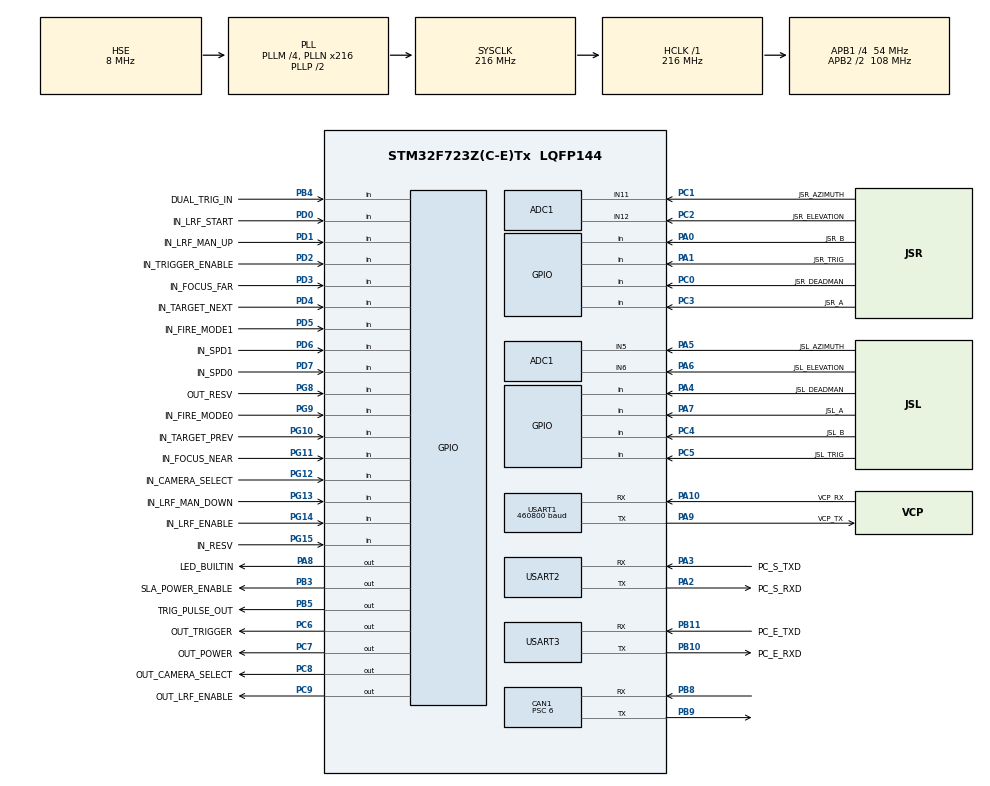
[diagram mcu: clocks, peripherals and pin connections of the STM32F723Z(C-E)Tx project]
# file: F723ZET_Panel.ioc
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ADC1.Channel-1\#ChannelRegularConversion=ADC_CHANNEL_11
ADC1.Channel-2\#ChannelRegularConversion=ADC_CHANNEL_12
ADC1.Channel-3\#ChannelRegularConversion=ADC_CHANNEL_5
ADC1.Channel-4\#ChannelRegularConversion=ADC_CHANNEL_6
ADC1.Channel-6\#ChannelRegularConversion=ADC_CHANNEL_TEMPSENSOR
ADC1.DMAContinuousRequests=ENABLE
ADC1.EOCSelection=ADC_EOC_SEQ_CONV
ADC1.ExternalTrigConv=ADC_EXTERNALTRIGCONV_T5_TRGO
ADC1.NbrOfConversion=5
ADC1.NbrOfConversionFlag=1
ADC1.Rank-1\#ChannelRegularConversion=1
ADC1.Rank-2\#ChannelRegularConversion=2
ADC1.Rank-3\#ChannelRegularConversion=3
ADC1.Rank-4\#ChannelRegularConversion=4
ADC1.Rank-6\#ChannelRegularConversion=5
ADC1.SamplingTime-1\#ChannelRegularConversion=ADC_SAMPLETIME_28CYCLES
ADC1.SamplingTime-2\#ChannelRegularConversion=ADC_SAMPLETIME_28CYCLES
ADC1.SamplingTime-3\#ChannelRegularConversion=ADC_SAMPLETIME_28CYCLES
ADC1.SamplingTime-4\#ChannelRegularConversion=ADC_SAMPLETIME_28CYCLES
ADC1.SamplingTime-6\#ChannelRegularConversion=ADC_SAMPLETIME_28CYCLES
ADC1.master=1
CAN1.BS1=CAN_BS1_15TQ
CAN1.BS2=CAN_BS2_2TQ
CAN1.CalculateBaudRate=500000
CAN1.CalculateTimeBit=2000
CAN1.CalculateTimeQuantum=111.11111111111111
CAN1.Prescaler=6
CORTEX_M7.default_mode_Activation=1
Dma.ADC1.0.Direction=DMA_PERIPH_TO_MEMORY
Dma.ADC1.0.FIFOMode=DMA_FIFOMODE_DISABLE
Dma.ADC1.0.Instance=DMA2_Stream0
Dma.ADC1.0.MemDataAlignment=DMA_MDATAALIGN_WORD
Dma.ADC1.0.MemInc=DMA_MINC_ENABLE
Dma.ADC1.0.Mode=DMA_CIRCULAR
Dma.ADC1.0.PeriphDataAlignment=DMA_PDATAALIGN_WORD
Dma.ADC1.0.PeriphInc=DMA_PINC_DISABLE
Dma.ADC1.0.Priority=DMA_PRIORITY_LOW
Dma.Request0=ADC1
IWDG.Prescaler=IWDG_PRESCALER_64
IWDG.Reload=1000
IWDG.Window=1000
Mcu.Family=STM32F7
Mcu.Name=STM32F723Z(C-E)Tx
Mcu.Package=LQFP144
NVIC.ADC_IRQn=true\:9\:0\:true\:false\:true\:true\:true\:true
NVIC.CAN1_RX0_IRQn=true\:5\:0\:true\:false\:true\:true\:true\:true
NVIC.DMA2_Stream0_IRQn=true\:8\:0\:true\:false\:true\:false\:true\:true
NVIC.PriorityGroup=NVIC_PRIORITYGROUP_4
NVIC.USART1_IRQn=true\:14\:0\:true\:false\:false\:true\:true\:true
NVIC.USART2_IRQn=true\:11\:0\:true\:false\:false\:true\:true\:true
NVIC.USART3_IRQn=true\:10\:0\:true\:false\:false\:true\:true\:true
PA0-WKUP.GPIO_Label=JSR_B
PA0-WKUP.GPIO_PuPd=GPIO_PULLUP
PA0-WKUP.Signal=GPIO_Input
PA1.GPIO_Label=JSR_TRIG
PA1.GPIO_PuPd=GPIO_PULLUP
PA1.Signal=GPIO_Input
PA10.GPIO_Label=VCP_RX
PA10.Mode=Asynchronous
PA10.Signal=USART1_RX
PA13.Mode=Serial_Wire
PA13.Signal=SYS_JTMS-SWDIO
PA14.Mode=Serial_Wire
PA14.Signal=SYS_JTCK-SWCLK
PA15.GPIO_Label=V_BATT_FREQ
PA15.Signal=S_TIM2_CH1_ETR
PA2.GPIO_Label=PC_S_RXD
PA2.Mode=Asynchronous
PA2.Signal=USART2_TX
PA3.GPIO_Label=PC_S_TXD
PA3.GPIO_PuPd=GPIO_PULLUP
PA3.Mode=Asynchronous
PA3.Signal=USART2_RX
PA4.GPIO_Label=JSL_DEADMAN
PA4.GPIO_PuPd=GPIO_PULLUP
PA4.Signal=GPIO_Input
PA5.GPIO_Label=JSL_AZIMUTH
PA5.Signal=ADCx_IN5
PA6.GPIO_Label=JSL_ELEVATION
PA6.Signal=ADCx_IN6
PA7.GPIO_Label=JSL_A
PA7.GPIO_PuPd=GPIO_PULLUP
PA7.Signal=GPIO_Input
PA8.GPIO_Label=LED_BUILTIN
PA8.Signal=GPIO_Output
PA9.GPIO_Label=VCP_TX
PA9.Mode=Asynchronous
PA9.Signal=USART1_TX
PB10.GPIO_Label=PC_E_RXD
PB10.Mode=Asynchronous
PB10.Signal=USART3_TX
PB11.GPIO_Label=PC_E_TXD
PB11.GPIO_PuPd=GPIO_PULLUP
PB11.Mode=Asynchronous
PB11.Signal=USART3_RX
PB2.Signal=QUADSPI_CLK
PB3.GPIO_Label=SLA_POWER_ENABLE
PB3.GPIO_ModeDefaultOutputPP=GPIO_MODE_OUTPUT_OD
PB3.GPIO_PuPd=GPIO_NOPULL
PB3.PinState=GPIO_PIN_SET
PB3.Signal=GPIO_Output
PB4.GPIO_Label=DUAL_TRIG_IN
PB4.GPIO_PuPd=GPIO_PULLUP
PB4.Signal=GPIO_Input
PB5.GPIO_Label=TRIG_PULSE_OUT
PB5.Signal=GPIO_Output
PB6.Signal=QUADSPI_BK1_NCS
PB8.Mode=CAN_Activate
PB8.Signal=CAN1_RX
PB9.Mode=CAN_Activate
PB9.Signal=CAN1_TX
PC0.GPIO_Label=JSR_DEADMAN
PC0.GPIO_PuPd=GPIO_PULLUP
PC0.Signal=GPIO_Input
PC1.GPIO_Label=JSR_AZIMUTH
PC1.Signal=ADCx_IN11
PC10.GPIO_Label=BMS_RXD
PC10.Signal=UART4_TX
PC11.GPIO_Label=BMS_TXD
PC11.Signal=UART4_RX
PC13.GPIO_Label=SYS_WKUP4
PC13.Signal=SYS_WKUP4
PC2.GPIO_Label=JSR_ELEVATION
PC2.Signal=ADCx_IN12
PC3.GPIO_Label=JSR_A
PC3.GPIO_PuPd=GPIO_PULLUP
PC3.Signal=GPIO_Input
PC4.GPIO_Label=JSL_B
PC4.GPIO_PuPd=GPIO_PULLUP
PC4.Signal=GPIO_Input
PC5.GPIO_Label=JSL_TRIG
PC5.GPIO_PuPd=GPIO_PULLUP
PC5.Signal=GPIO_Input
PC6.GPIO_Label=OUT_TRIGGER
PC6.Signal=GPIO_Output
PC7.GPIO_Label=OUT_POWER
PC7.Signal=GPIO_Output
PC8.GPIO_Label=OUT_CAMERA_SELECT
PC8.Signal=GPIO_Output
PC9.GPIO_Label=OUT_LRF_ENABLE
PC9.Signal=GPIO_Output
PD0.GPIO_Label=IN_LRF_START
PD0.GPIO_PuPd=GPIO_PULLUP
PD0.Signal=GPIO_Input
PD1.GPIO_Label=IN_LRF_MAN_UP
PD1.GPIO_PuPd=GPIO_PULLUP
PD1.Signal=GPIO_Input
PD2.GPIO_Label=IN_TRIGGER_ENABLE
PD2.GPIO_PuPd=GPIO_PULLUP
PD2.Signal=GPIO_Input
PD3.GPIO_Label=IN_FOCUS_FAR
PD3.GPIO_PuPd=GPIO_PULLUP
PD3.Signal=GPIO_Input
PD4.GPIO_Label=IN_TARGET_NEXT
PD4.GPIO_PuPd=GPIO_PULLUP
PD4.Signal=GPIO_Input
PD5.GPIO_Label=IN_FIRE_MODE1
PD5.GPIO_PuPd=GPIO_PULLUP
PD5.Signal=GPIO_Input
PD6.GPIO_Label=IN_SPD1
PD6.GPIO_PuPd=GPIO_PULLUP
PD6.Signal=GPIO_Input
PD7.GPIO_Label=IN_SPD0
PD7.GPIO_PuPd=GPIO_PULLUP
PD7.Signal=GPIO_Input
PF6.Signal=QUADSPI_BK1_IO3
PF7.Signal=QUADSPI_BK1_IO2
PF8.Signal=QUADSPI_BK1_IO0
PF9.Signal=QUADSPI_BK1_IO1
PG10.GPIO_Label=IN_TARGET_PREV
PG10.GPIO_PuPd=GPIO_PULLUP
PG10.Signal=GPIO_Input
PG11.GPIO_Label=IN_FOCUS_NEAR
PG11.GPIO_PuPd=GPIO_PULLUP
PG11.Signal=GPIO_Input
PG12.GPIO_Label=IN_CAMERA_SELECT
PG12.GPIO_PuPd=GPIO_PULLUP
PG12.Signal=GPIO_Input
PG13.GPIO_Label=IN_LRF_MAN_DOWN
PG13.GPIO_PuPd=GPIO_PULLUP
PG13.Signal=GPIO_Input
PG14.GPIO_Label=IN_LRF_ENABLE
PG14.GPIO_PuPd=GPIO_PULLUP
PG14.Signal=GPIO_Input
PG15.GPIO_Label=IN_RESV
PG15.GPIO_PuPd=GPIO_PULLUP
PG15.Signal=GPIO_Input
PG8.GPIO_Label=OUT_RESV
PG8.GPIO_PuPd=GPIO_PULLUP
PG8.Signal=GPIO_Input
PG9.GPIO_Label=IN_FIRE_MODE0
PG9.GPIO_PuPd=GPIO_PULLUP
PG9.Signal=GPIO_Input
PH0-OSC_IN.Mode=HSE-External-Oscillator
PH0-OSC_IN.Signal=RCC_OSC_IN
PH1-OSC_OUT.Mode=HSE-External-Oscillator
PH1-OSC_OUT.Signal=RCC_OSC_OUT
ProjectManager.HeapSize=0x800
ProjectManager.StackSize=0x1600
ProjectManager.TargetToolchain=STM32CubeIDE
RCC.AHBFreq_Value=216000000
RCC.APB1CLKDivider=RCC_HCLK_DIV4
RCC.APB1Freq_Value=54000000
RCC.APB1TimFreq_Value=108000000
RCC.APB2CLKDivider=RCC_HCLK_DIV2
RCC.APB2Freq_Value=108000000
RCC.APB2TimFreq_Value=216000000
RCC.CortexFreq_Value=216000000
RCC.EnbaleCSS=true
RCC.HCLKFreq_Value=216000000
RCC.HSE_VALUE=8000000
RCC.HSI_VALUE=16000000
RCC.LSE_VALUE=32768
RCC.PLLM=4
RCC.PLLN=216
RCC.PLLSourceVirtual=RCC_PLLSOURCE_HSE
RCC.SYSCLKFreq_VALUE=216000000
RCC.SYSCLKSource=RCC_SYSCLKSOURCE_PLLCLK
RCC.USBFreq_Value=216000000
RCC.VCOOutputFreq_Value=432000000
SH.ADCx_IN11.0=ADC1_IN11,IN11
SH.ADCx_IN12.0=ADC1_IN12,IN12
SH.ADCx_IN5.0=ADC1_IN5,IN5
SH.ADCx_IN6.0=ADC1_IN6,IN6
SH.S_TIM2_CH1_ETR.0=TIM2_ETR
TIM5.Period=49999
TIM5.Prescaler=107
TIM5.TIM_MasterOutputTrigger=TIM_TRGO_UPDATE
USART1.BaudRate=460800
USART1.VirtualMode-Asynchronous=VM_ASYNC
USART2.VirtualMode-Asynchronous=VM_ASYNC
USART3.VirtualMode-Asynchronous=VM_ASYNC
VP_ADC1_TempSens_Input.Mode=IN-TempSens
VP_IWDG_VS_IWDG.Mode=IWDG_Activate
VP_TIM5_VS_ClockSourceINT.Mode=Internal
board=custom

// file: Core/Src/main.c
/* USER CODE BEGIN Header */
/**
 ******************************************************************************
 * @file           : main.c
 * @brief          : Main program body
 ******************************************************************************
 * @attention
 *
 * Copyright (c) 2022 STMicroelectronics.
 * All rights reserved.
 *
 * This software is licensed under terms that can be found in the LICENSE file
 * in the root directory of this software component.
 * If no LICENSE file comes with this software, it is provided AS-IS.
 *
 ******************************************************************************
 */
/* USER CODE END Header */
#include "main.h"
#include "adc.h"
#include "can.h"
#include "dma.h"
#include "iwdg.h"
#include "tim.h"
#include "usart.h"
#include "gpio.h"

/* USER CODE BEGIN Includes */
#include <stdio.h>
#include <string.h>
#include <stdlib.h>
#include <math.h>

#include "bus_can.h"
#include "button.h"

#include "sla.h"
/* USER CODE END Includes */

/* USER CODE BEGIN PTD */

typedef struct
{
	uint8_t deadman :1; /* JSR or JSL to activate */
	uint8_t trigger :1; /* JSR for firing, JSL for balistic compensation */
	uint8_t aButton :1; /* JSL for track mode, JSR for travel mode */
	uint8_t bButton :1; /* JSL for memory mode, JSR for stabilize mode */
	uint8_t reservedBit :4;
} __attribute__ ((packed)) TJoystickButton;

typedef struct
{
	uint16_t raw_min;
	uint16_t raw_mid;
	uint16_t raw_max;

	int32_t az; /* JSR for manual azimuth speed or azimuth correction speed, JSL for track size (right->bigger, left->smaller)  */
	uint32_t az_max; /* maximum value of az */
	int32_t az_tem; /* used for smoothing */
	int32_t el; /* JSR for manual elevation speed or elevation correction speed, JSL for zoom action (up->tele, down->wide)  */
	uint32_t el_max; /* maximum value of el */
	int32_t el_tem; /* used for smoothing */
	float alpha;
	float betha;
	TJoystickButton button; /* state of joystick's buttons */
} TJoystick;

typedef struct
{
	CAN_HandleTypeDef *hcan;
	CAN_TxHeaderTypeDef txHeader;
	uint32_t txMailBox;

	Bus_Tx_Buffer_t tx_command;
	Bus_Tx_Buffer_t tx_manual;
	Bus_Tx_Buffer_t tx_track;
	Bus_Tx_Buffer_t tx_balistik;
	Bus_Tx_Buffer_t tx_homing;

	Bus_Rx_Buffer_t rx_motor_state;
	Bus_Rx_Buffer_t rx_motor_position;
	Bus_Rx_Buffer_t rx_motor_imu;
	Bus_Rx_Buffer_t rx_weapon_state;

	Bus_Rx_Buffer_t rx_opt_lrf;
	Bus_Rx_Buffer_t rx_opt_cam;
} Bus_t;

typedef struct
{
	uint8_t motor_state :1;
	uint8_t motor_pos :1;
	uint8_t motor_imu :1;
	uint8_t opt_cam_state :1;
	uint8_t opt_lrf :1;
	uint16_t reservedBit :11;
} __attribute__ ((packed)) led_state_t;

typedef struct
{
	uint8_t counter;
	int32_t az;  // 0-360000 (1/1000 degree)
	int32_t el;  // in 1/1000 degree
	uint16_t distance;
} Homing_t;

/* USER CODE END PTD */

/* USER CODE BEGIN PD */
#define DEBUG_ENABLE			1
#if DEBUG_ENABLE==1

#define DEBUG_BUS				1
#define DEBUG_BUTTON			1
#define DEBUG_SLA				1

#define LOG(str, ...) printf("[%ld %s:%d] " str, HAL_GetTick()%10000, __FILE_NAME__, __LINE__, ##__VA_ARGS__)
#define LOG_E(str, ...) printf("[%s Err:%d] " str,  __FILE_NAME__,__LINE__, ##__VA_ARGS__)

#if DEBUG_BUS==1
#define LOGBUS(str, ...) printf("[%ld %s:%d] " str, HAL_GetTick()%10000, __FILE_NAME__, __LINE__, ##__VA_ARGS__)
#define LOGBUS_E(str, ...) printf("[%s Err:%d] " str,  __FILE_NAME__,__LINE__, ##__VA_ARGS__)
#else
#define LOGBUS(str, ...)
#define LOGBUS_E(str, ...)
#endif	//if DEBUG_BUS==1

#if DEBUG_BUTTON==1
#define LOGBTN(str, ...) printf("[%ld %s:%d] " str, HAL_GetTick()%10000, __FILE_NAME__, __LINE__, ##__VA_ARGS__)
#define LOGBTN_E(str, ...) printf("[%s Err:%d] " str,  __FILE_NAME__,__LINE__, ##__VA_ARGS__)
#else
#define LOGBTN(str, ...)
#define LOGBTN_E(str, ...)
#endif	//if DEBUG_BUTTON==1

#if DEBUG_SLA==1
#define LOGSLA(str, ...) printf("[%ld %s:%d] " str, HAL_GetTick()%10000, __FILE_NAME__, __LINE__, ##__VA_ARGS__)
#define LOGSLA_E(str, ...) printf("[%s Err:%d] " str,  __FILE_NAME__,__LINE__, ##__VA_ARGS__)
#else
#define LOGSLA(str, ...)
#define LOGSLA_E(str, ...)
#endif	//if DEBUG_SLA==1

#else
#define LOG(str, ...)
#define LOG_E(str, ...)
#endif	//if DEBUG_ENABLE==1

#define INPUT_PORTD		GPIOD
#define INPUT_PORTG		GPIOG

#define MTR_MAX_SPEED			1000000UL
#define MTR_MID_SPEED			100000UL
#define MTR_LOW_SPEED			5000UL

#define RWS_MOTOR_PAN_FULL_REV_IN_C			417747
#define RWS_MOTOR_TILT_C_TO_DEG(c)			((float)c*0.000525247f)
/* USER CODE END PD */

/* USER CODE BEGIN PV */
static Bus_t bus;

//sModeGpioInput_t bInput;
//sModeGpioOutput_t bOutput;
TJoystick JRight, JLeft;
uint32_t adcVal[5];
volatile uint8_t adcConvCompleted = 0;
volatile uint8_t can_completed = 0;

static Panel_motor_command_t p0;
static Panel_weapon_command_t p1;
static uint16_t shoot_limit = 0;
static Panel_camera_command_t p4;
static Panel_lrf_command_t p5;

volatile uint32_t trig_timer = 0;
static led_state_t led_state;
static uint8_t rws_mode = MOVE_MODE_MAN;
static Homing_t homing_command = { .counter = 0, .az = 0, .el = 0, .distance = 0 };
static uint16_t lrf_val = 1000;
static float body_rws_pos[2] = { 0, 0 };
static Optronik_camera_state_t opt_cam_state;
/* USER CODE END PV */

void SystemClock_Config(void);
static void MPU_Config(void);
/* USER CODE BEGIN PFP */
static HAL_StatusTypeDef can_init();
static HAL_StatusTypeDef bus_init();
static HAL_StatusTypeDef bus_send(Bus_Tx_Buffer_t *buffer);

static void button_init();
static void button_update();
static void js_update();

static void led_init();
static void led_handler();

static void move_handler();
/* USER CODE END PFP */

int main(void)
{

	/* MPU Configuration--------------------------------------------------------*/
	MPU_Config();

	/* MCU Configuration--------------------------------------------------------*/

	/* Reset of all peripherals, Initializes the Flash interface and the Systick. */
	HAL_Init();

	/* Configure the system clock */
	SystemClock_Config();

	/* Initialize all configured peripherals */
	MX_GPIO_Init();
	MX_CAN1_Init();
	MX_DMA_Init();
	MX_USART1_UART_Init();
	MX_USART3_UART_Init();
	MX_ADC1_Init();
	MX_USART2_UART_Init();
	MX_TIM5_Init();
	MX_IWDG_Init();
	/* USER CODE BEGIN 2 */
	/* TODO INIT */
	led_init();

	uart_init_all();
	LOG("Panel Firmware!\r\n");

	bus_init();
	button_init();
	sla_init();

	sla_set_distance(lrf_val);

	/* USER CODE END 2 */

	/* Infinite loop */
	/* USER CODE BEGIN WHILE */
	uint32_t adc_timer = 0;
	uint8_t motor_state_counter = 0;
	uint8_t motor_position_counter = 0;
	uint8_t opt_cam_counter = 0;
	uint32_t trig_out_timer = 1;
	while (1) {
		char c;
		Bus_Rx_Buffer_t tem;
		Rws_Union_u ru1, ru2;
		/* USER CODE END WHILE */

		/* USER CODE BEGIN 3 */
		/* TODO BEGIN LOOP */

		HAL_IWDG_Refresh(&hiwdg);

		if (trig_timer != 0) {
			if (HAL_GetTick() >= trig_timer) {
				HAL_GPIO_WritePin(TRIG_PULSE_OUT_GPIO_Port, TRIG_PULSE_OUT_Pin, GPIO_PIN_RESET);

				trig_timer = 0;
			}
		}

		if (p1.triggerEnable == 1 && (JRight.button.deadman || JLeft.button.deadman))
			HAL_GPIO_WritePin(TRIG_PULSE_OUT_GPIO_Port, TRIG_PULSE_OUT_Pin,
					HAL_GPIO_ReadPin(JSR_TRIG_GPIO_Port, JSR_TRIG_Pin));

		if (serial_available(&debug) > 0) {
			c = serial_read(&debug);
			if (c == 't') {
				LOG("start continous trigering\r\n");
				if (trig_out_timer != 0)
					trig_out_timer = 0;
				else
					trig_out_timer = HAL_GetTick() + 500;
			}
			else if (c == 'm') {
				p1.munitionCounterReset = !p1.munitionCounterReset;
				LOG("munisi counter reset=%d\r\n", p1.munitionCounterReset);
			}
		}

		if (adcConvCompleted != 0) {
			adcConvCompleted = 0;

			LOGBTN("adc dT= %ld\r\n", HAL_GetTick() - adc_timer);
			adc_timer = HAL_GetTick();

			js_update();
			button_update();

			/* TODO change move mode  */
			p0.movementMode = rws_mode;
			bus.tx_command.data[0] = *(uint8_t*) &p0;
			bus.tx_command.data[1] = *(uint8_t*) &p1;
			bus.tx_command.data[2] = shoot_limit >> 8;
			bus.tx_command.data[3] = shoot_limit & 0xFF;
			bus.tx_command.data[4] = *(uint8_t*) &p4;
			bus.tx_command.data[5] = *(uint8_t*) &p5;
			if (bus_send(&bus.tx_command) == HAL_OK) {
				LOGBUS("cmd:[M%02X][C%02X]\r\n", bus.tx_command.data[0], bus.tx_command.data[4]);
			}

		}

		if (bus.rx_motor_state.counter != motor_state_counter) {
			motor_state_counter = bus.rx_motor_state.counter;

			tem = bus.rx_motor_state;
			LOGBUS("m_state: ");
#if DEBUG_BUS==1
			for ( int i = 0; i < tem.len; i++ ) {
				printf("%02X ", tem.data[i]);
			}
			printf("\r\n");
#endif	//if DEBUG_BUS==1

			if (rws_mode == MOVE_MODE_HOMING) {
				Body_movement_mode_t i0;
				*(uint8_t*) &i0 = tem.data[0];

				if (i0.moveModeEnd == 1)
					rws_mode = MOVE_MODE_MAN;
			}

			led_state.motor_state = 1;
		}

		if (bus.rx_motor_position.counter != motor_position_counter) {
			motor_position_counter = bus.rx_motor_position.counter;

			tem = bus.rx_motor_position;
			for ( int i = 0; i < 4; i++ ) {
				ru1.u8[i] = tem.data[i];
				ru2.u8[i] = tem.data[i + 4];
			}
			LOGBUS("pan= %ld,tilt= %ld\r\n", ru1.i32, ru2.i32);

			ru1.i32 %= RWS_MOTOR_PAN_FULL_REV_IN_C;
			body_rws_pos[0] = (float) ru1.i32 * 360.0f / RWS_MOTOR_PAN_FULL_REV_IN_C;
			if (body_rws_pos[0] < 0)
				body_rws_pos[0] += 360.0f;
			body_rws_pos[1] = (float) RWS_MOTOR_TILT_C_TO_DEG(ru2.i32);

			sla_set_attitude(body_rws_pos[0], body_rws_pos[1]);
		}

		if (bus.rx_opt_cam.counter != opt_cam_counter) {
			opt_cam_counter = bus.rx_opt_cam.counter;

			*(uint8_t*) &opt_cam_state = bus.rx_opt_cam.data[0];
			LOGBUS("opt_cam: %02X\r\n", *(uint8_t* )&opt_cam_state);

			led_state.opt_cam_state = 1;
		}

		led_handler();
		sla_handler();
		move_handler();

		/* TODO END LOOP */
	}
	/* USER CODE END 3 */
}

void SystemClock_Config(void)
{
	RCC_OscInitTypeDef RCC_OscInitStruct = { 0 };
	RCC_ClkInitTypeDef RCC_ClkInitStruct = { 0 };

	/** Configure the main internal regulator output voltage
	 */
	__HAL_RCC_PWR_CLK_ENABLE();
	__HAL_PWR_VOLTAGESCALING_CONFIG(PWR_REGULATOR_VOLTAGE_SCALE1);

	/** Initializes the RCC Oscillators according to the specified parameters
	 * in the RCC_OscInitTypeDef structure.
	 */
	RCC_OscInitStruct.OscillatorType = RCC_OSCILLATORTYPE_LSI | RCC_OSCILLATORTYPE_HSE;
	RCC_OscInitStruct.HSEState = RCC_HSE_ON;
	RCC_OscInitStruct.LSIState = RCC_LSI_ON;
	RCC_OscInitStruct.PLL.PLLState = RCC_PLL_ON;
	RCC_OscInitStruct.PLL.PLLSource = RCC_PLLSOURCE_HSE;
	RCC_OscInitStruct.PLL.PLLM = 4;
	RCC_OscInitStruct.PLL.PLLN = 216;
	RCC_OscInitStruct.PLL.PLLP = RCC_PLLP_DIV2;
	RCC_OscInitStruct.PLL.PLLQ = 2;
	if (HAL_RCC_OscConfig(&RCC_OscInitStruct) != HAL_OK) {
		Error_Handler();
	}

	/** Activate the Over-Drive mode
	 */
	if (HAL_PWREx_EnableOverDrive() != HAL_OK) {
		Error_Handler();
	}

	/** Initializes the CPU, AHB and APB buses clocks
	 */
	RCC_ClkInitStruct.ClockType = RCC_CLOCKTYPE_HCLK | RCC_CLOCKTYPE_SYSCLK | RCC_CLOCKTYPE_PCLK1 | RCC_CLOCKTYPE_PCLK2;
	RCC_ClkInitStruct.SYSCLKSource = RCC_SYSCLKSOURCE_PLLCLK;
	RCC_ClkInitStruct.AHBCLKDivider = RCC_SYSCLK_DIV1;
	RCC_ClkInitStruct.APB1CLKDivider = RCC_HCLK_DIV4;
	RCC_ClkInitStruct.APB2CLKDivider = RCC_HCLK_DIV2;

	if (HAL_RCC_ClockConfig(&RCC_ClkInitStruct, FLASH_LATENCY_7) != HAL_OK) {
		Error_Handler();
	}

	/** Enables the Clock Security System
	 */
	HAL_RCC_EnableCSS();
}

/* USER CODE BEGIN 4 */
/* TODO User Functions */

static void manual_handler()
{
	Rws_Union_u p, t;
	static uint32_t _send_timer = 0;

	if (HAL_GetTick() >= _send_timer) {
		_send_timer = HAL_GetTick() + 50;

		if ((rws_mode == MOVE_MODE_MAN) || (rws_mode == MOVE_MODE_TRAVEL) || (rws_mode == MOVE_MODE_STAB)) {
			if (p0.motorEnable == 1) {
				p.i32 = JRight.az;
				t.i32 = JRight.el;
			}
			else {
				p.i32 = 0;
				t.i32 = 0;
			}

			for ( int i = 0; i < 4; i++ ) {
				bus.tx_manual.data[i] = p.u8[i];
				bus.tx_manual.data[i + 4] = t.u8[i];
			}

			if (bus_send(&bus.tx_manual) == HAL_OK) {
//				LOG("manual=%ld,%ld\r\n", p.i32, t.i32);
			}
		}
	}
}

static void homing_handler()
{
	static uint8_t gsl_counter = 0;
	static uint32_t homing_send_timer = 0;
	static uint8_t homing_button = 0;
	uint8_t _button = 0;
	Rws_Union_u a, e;

	if ((JRight.button.deadman | JLeft.button.deadman) && JRight.button.aButton)
		_button = 1;

	if (sla_gsl_available() > 0) {
		sla_gsl_get_command(&homing_command.counter, &homing_command.az, &homing_command.el, &homing_command.distance);
//		if (rws_mode == MOVE_MODE_MAN)
//			_button = 1;
	}

	if (homing_button != _button) {
		if (_button == 1) {
			if (rws_mode == MOVE_MODE_MAN) {
				if (gsl_counter != homing_command.counter) {
					gsl_counter = homing_command.counter;

					a.i32 = homing_command.az;
					e.i32 = homing_command.el;

					lrf_val = homing_command.distance;
					sla_set_distance(lrf_val);
					sla_gsl_start();
				}
				else {
					a.i32 = 0;
					e.i32 = 0;
				}

				for ( int i = 0; i < 4; i++ ) {
					bus.tx_homing.data[i] = a.u8[i];
					bus.tx_homing.data[i + 4] = e.u8[i];
				}

				LOGSLA("HOMING STARTED!\r\nHoming=%ld,%ld,%d\r\n", homing_command.az, homing_command.el,
						homing_command.distance);

				p0.movementMode = MOVE_MODE_HOMING;
				p0.motorEnable = 1;
				homing_send_timer = HAL_GetTick();
				rws_mode = MOVE_MODE_HOMING;
			}
			else if (rws_mode == MOVE_MODE_HOMING) {
				/* abort */
				LOGSLA("rws_mode=MANUAL (aborted!)\r\n");
				rws_mode = MOVE_MODE_MAN;
			}
		}
		homing_button = _button;
	}

	if (rws_mode != MOVE_MODE_HOMING)
		homing_send_timer = 0;

	if (homing_send_timer > 0) {
		if (HAL_GetTick() >= homing_send_timer) {
			homing_send_timer = HAL_GetTick() + 100;

			bus_send(&bus.tx_homing);
			LOGSLA("body pos=%.1f,%.3f\r\n", body_rws_pos[0], body_rws_pos[1]);
		}
	}
}

static void memory_handler()
{
	static uint32_t memory_send_timer = 0;
	static uint8_t memory_button = 0;
	uint8_t _activate_button = 0;

	if ((JRight.button.deadman | JLeft.button.deadman) && JLeft.button.bButton)
		_activate_button = 1;

	if (memory_button != _activate_button) {
		memory_button = _activate_button;

		if (memory_button != 0) {
			if (rws_mode == MOVE_MODE_MAN) {
				p0.movementMode = MOVE_MODE_MEMORY;
				p0.motorEnable = 1;

				memory_send_timer = HAL_GetTick();
				rws_mode = MOVE_MODE_MEMORY;
			}
		}
		else {
			/* back to manual mode */
			rws_mode = MOVE_MODE_MAN;
		}
	}

	if (rws_mode != MOVE_MODE_MEMORY)
		memory_send_timer = 0;

	if (memory_send_timer > 0) {
		if (HAL_GetTick() >= memory_send_timer) {
			memory_send_timer = HAL_GetTick() + 100;

			bus_send(&bus.tx_manual);
		}
	}

}

static void track_handler()
{
	static uint8_t prev_rws_mode = MOVE_MODE_MAN;
	static uint32_t track_send_timer = 0;
	static uint8_t track_button = 0;
	uint8_t _activate_button = 0;
	uint8_t trk_id = 0;
	int16_t trk_x = 0, trk_y = 0;

	if ((JRight.button.deadman | JLeft.button.deadman) && JLeft.button.aButton)
		_activate_button = 1;

	if (track_button != _activate_button) {
		track_button = _activate_button;

		if (track_button != 0) {
			if ((rws_mode == MOVE_MODE_MAN) || (rws_mode == MOVE_MODE_STAB) || (rws_mode == MOVE_MODE_TRAVEL)) {
				prev_rws_mode = rws_mode;
				p0.movementMode = MOVE_MODE_TRACK;
				p0.motorEnable = 1;

				tracker_init();
				track_send_timer = HAL_GetTick();
				rws_mode = MOVE_MODE_TRACK;
			}
			else if (rws_mode == MOVE_MODE_TRACK) {
				track_send_timer = 0;
				rws_mode = prev_rws_mode;
			}
		}
	}

	if (rws_mode != MOVE_MODE_TRACK)
		track_send_timer = 0;

	if (track_send_timer > 0) {
		if (HAL_GetTick() >= track_send_timer) {
			track_send_timer = HAL_GetTick() + 100;

			if (tracker_read(&trk_id, &trk_x, &trk_y) == HAL_OK) {
				bus.tx_track.data[0] = *(uint8_t*) &opt_cam_state;
				bus.tx_track.data[1] = (trk_x >> 8) & 0xFF;
				bus.tx_track.data[2] = trk_x & 0xFF;
				bus.tx_track.data[3] = (trk_y >> 8) & 0xFF;
				bus.tx_track.data[4] = trk_y & 0xFF;

				bus_send(&bus.tx_track);
			}
		}
	}
}

static void move_handler()
{
	static uint32_t _update_sla_timer = 0;
	uint16_t bufLen = 0;
	char buf[RING_BUFFER_TX_SIZE];
	char mode_buf[32];

	manual_handler();
	homing_handler();
	memory_handler();
	track_handler();

	if (HAL_GetTick() >= _update_sla_timer) {
		_update_sla_timer = HAL_GetTick() + 1000;

		if (rws_mode == MOVE_MODE_HOMING)
			sprintf(mode_buf, "HOMING MODE");
		else if (rws_mode == MOVE_MODE_TRACK)
			sprintf(mode_buf, "TRACK MODE");
		else if (rws_mode == MOVE_MODE_STAB)
			sprintf(mode_buf, "STAB MODE");
		else if (rws_mode == MOVE_MODE_TRAVEL)
			sprintf(mode_buf, "TRAVEL MODE");
		else if (rws_mode == MOVE_MODE_MEMORY)
			sprintf(mode_buf, "MEMORY MODE");
		else
			sprintf(mode_buf, "MANUAL MODE");

		bufLen = sprintf(buf, "$DISPSTR,1,5,30,%s*", mode_buf);
		sla_print_text(buf, bufLen);
	}
}

static uint8_t led_check_connection(const uint32_t *timestamp)
{
	if (HAL_GetTick() >= *timestamp + BUS_MAX_TIMEOUT)
		return 0;
	else
		return 1;
}

static void led_init()
{
	*(uint16_t*) &led_state = 0;
}

static void led_handler()
{
	static uint32_t _led_timer = 1000;
	static uint32_t _led_counter = 0;

	led_state.motor_state = led_check_connection(&bus.rx_motor_state.lastTimestamp);
	led_state.motor_pos = led_check_connection(&bus.rx_motor_position.lastTimestamp);
	led_state.motor_imu = led_check_connection(&bus.rx_motor_imu.lastTimestamp);
	led_state.opt_cam_state = led_check_connection(&bus.rx_opt_cam.lastTimestamp);
	led_state.opt_lrf = led_check_connection(&bus.rx_opt_lrf.lastTimestamp);

	if (HAL_GetTick() >= _led_timer) {
		_led_timer = HAL_GetTick() + 100;

		if (_led_counter % 10 < 1) {
			HAL_GPIO_WritePin(LED_BUILTIN_GPIO_Port, LED_BUILTIN_Pin, GPIO_PIN_SET);
		}
		else if (_led_counter % 10 < 5) {
			if (led_state.motor_state == 1)
				HAL_GPIO_WritePin(LED_BUILTIN_GPIO_Port, LED_BUILTIN_Pin, GPIO_PIN_SET);
			else
				HAL_GPIO_WritePin(LED_BUILTIN_GPIO_Port, LED_BUILTIN_Pin, GPIO_PIN_RESET);
		}
		else if (_led_counter % 10 < 9) {
			if (led_state.opt_cam_state == 1)
				HAL_GPIO_WritePin(LED_BUILTIN_GPIO_Port, LED_BUILTIN_Pin, GPIO_PIN_SET);
			else
				HAL_GPIO_WritePin(LED_BUILTIN_GPIO_Port, LED_BUILTIN_Pin, GPIO_PIN_RESET);
		}
		else
			HAL_GPIO_WritePin(LED_BUILTIN_GPIO_Port, LED_BUILTIN_Pin, GPIO_PIN_RESET);

		if (++_led_counter > 10)
			_led_counter = 0;
	}

}

static void button_init()
{
	*(uint8_t*) &p0 = 0;
	*(uint8_t*) &p1 = 0;
	*(uint8_t*) &p4 = 0;
	*(uint8_t*) &p5 = 0;

	JRight.raw_mid = 950;
	JRight.raw_min = 740;
	JRight.raw_max = 1150;
	JLeft.raw_mid = 965;
	JLeft.raw_min = 750;
	JLeft.raw_max = 1200;

	*(uint8_t*) &JRight.button = 0;
	*(uint8_t*) &JLeft.button = 0;
	JRight.az = 0;
	JRight.az_tem = 0;
	JRight.el = 0;
	JRight.el_tem = 0;
	JLeft.az = 0;
	JLeft.az_tem = 0;
	JLeft.el = 0;
	JLeft.el_tem = 0;
	JRight.az_max = MTR_MID_SPEED;
	JRight.el_max = MTR_MID_SPEED;
	JRight.alpha = 0.2f;
	JRight.betha = 1.0f - JRight.alpha;
	JLeft.az_max = 1000UL;
	JLeft.el_max = 1000UL;
	JLeft.alpha = 1.0f;
	JLeft.betha = 1.0f - JLeft.alpha;

	/* enable timer2 */
	HAL_TIM_Base_Start(&htim5);
	/* start ADC as DMA */
	HAL_ADC_Start_DMA(&hadc1, adcVal, 5);
}

static GPIO_PinState button_read(const uint32_t port, const uint16_t pin)
{
	if ((port & pin) != (uint32_t) GPIO_PIN_RESET)
		return GPIO_PIN_SET;
	else
		return GPIO_PIN_RESET;
}

static void button_update()
{
	uint32_t portD = GPIOD->IDR;
	uint32_t portG = GPIOG->IDR;

	LOGBTN("portD= %02lX; portG=%02lX\r\n", (portD & 0xFF), (portG >> 8));

	p1.triggerEnable = !button_read(portD, IN_TRIGGER_ENABLE_Pin);

	if (button_read(portG, IN_FIRE_MODE0_Pin) == GPIO_PIN_RESET)
		shoot_limit = FIRING_MODE_1;
	else if (button_read(portD, IN_FIRE_MODE1_Pin) == GPIO_PIN_RESET)
		shoot_limit = FIRING_MODE_CONT;
	else
		shoot_limit = FIRING_MODE_3;

	if (button_read(portG, IN_CAMERA_SELECT_Pin) == GPIO_PIN_RESET)
		p4.cameraActive = CAM_SELECT_THERMAL;
	else
		p4.cameraActive = CAM_SELECT_DAY;

	if (button_read(portD, IN_SPD0_Pin) == GPIO_PIN_RESET)
		JRight.az_max = JRight.el_max = MTR_LOW_SPEED;
	else if (button_read(portD, IN_SPD1_Pin) == GPIO_PIN_RESET)
		JRight.az_max = JRight.el_max = MTR_MAX_SPEED;
	else
		JRight.az_max = JRight.el_max = MTR_MID_SPEED;

	if (button_read(portD, IN_FOCUS_FAR_Pin) == GPIO_PIN_RESET)
		p4.focus = ZF_IN;
	else if (button_read(portG, IN_FOCUS_NEAR_Pin) == GPIO_PIN_RESET)
		p4.focus = ZF_OUT;
	else
		p4.focus = ZF_STOP;

	p5.lrfEnable = !button_read(portG, IN_LRF_ENABLE_Pin);
	p5.lrfStart = !button_read(portD, IN_LRF_START_Pin);

//	if (button_read(portD, IN_LRF_MAN_UP_Pin) == GPIO_PIN_RESET)
//		bInput.lrf_man_mode = LRF_MAN_UP;
//	else if (button_read(portG, IN_LRF_MAN_DOWN_Pin) == GPIO_PIN_RESET)
//		bInput.lrf_man_mode = LRF_MAN_DOWN;
//	else
//		bInput.lrf_man_mode = LRF_MAN_NONE;
//
//	if (button_read(portD, IN_TARGET_NEXT_Pin) == GPIO_PIN_RESET)
//		bInput.target_select = TARGET_NEXT;
//	else if (button_read(portG, IN_TARGET_PREV_Pin) == GPIO_PIN_RESET)
//		bInput.target_select = TARGET_PREV;
//	else
//		bInput.target_select = TARGET_NONE;

//	/* TODO in_resv as cock start */
//	if (button_read(portG, IN_RESV_Pin) == GPIO_PIN_RESET) {
//		if (p1.triggerEnable == 0) {
//			p1.cockEnable = ENABLE;
//			p1.cockStartMoving = ENABLE;
//		}
//		else {
//			p1.cockEnable = DISABLE;
//			p1.cockStartMoving = DISABLE;
//		}
//	}
//	else {
//		p1.cockEnable = DISABLE;
//		p1.cockStartMoving = DISABLE;
//	}

	/* TODO in_resv as sla_enable/disable */
	HAL_GPIO_WritePin(SLA_POWER_ENABLE_GPIO_Port, SLA_POWER_ENABLE_Pin, HAL_GPIO_ReadPin(IN_RESV_GPIO_Port, IN_RESV_Pin));
}

static void js_button_update()
{
	JRight.button.deadman = HAL_GPIO_ReadPin(JSR_DEADMAN_GPIO_Port, JSR_DEADMAN_Pin);
	JRight.button.trigger = HAL_GPIO_ReadPin(JSR_TRIG_GPIO_Port, JSR_TRIG_Pin);
	JRight.button.aButton = HAL_GPIO_ReadPin(JSR_A_GPIO_Port, JSR_A_Pin);
	JRight.button.bButton = HAL_GPIO_ReadPin(JSR_B_GPIO_Port, JSR_B_Pin);

	JLeft.button.deadman = HAL_GPIO_ReadPin(JSL_DEADMAN_GPIO_Port, JSL_DEADMAN_Pin);
	JLeft.button.trigger = HAL_GPIO_ReadPin(JSL_TRIG_GPIO_Port, JSL_TRIG_Pin);
	JLeft.button.aButton = HAL_GPIO_ReadPin(JSL_A_GPIO_Port, JSL_A_Pin);
	JLeft.button.bButton = HAL_GPIO_ReadPin(JSL_B_GPIO_Port, JSL_B_Pin);

	uint8_t _deadman = JRight.button.deadman | JLeft.button.deadman;
	p0.motorEnable = _deadman;
}

static long constrain(long x, const long min, const long max)
{
	if (x < min)
		x = min;
	else if (x > max)
		x = max;

	return x;
}

static long map(long x, long in_min, long in_max, long out_min, long out_max)
{
	return (x - in_min) * (out_max - out_min) / (in_max - in_min) + out_min;
}

static int32_t adc_joystick_azel_conversion(const long min, const long mid, const long max, const uint32_t adcVal,
		const uint32_t maxValue)
{
	const long JS_ADC_HYST = 10;

	int _i;
	float _f = 0.0f;
	long in_min = min - mid;
	long in_max = max - mid;
	const int32_t out_min = -900; /* -90.0 degrees */
	const int32_t out_max = 900; /* 90.0 degrees */
	long _l;
	int32_t ret = 0;
	uint32_t u32;

	_l = adcVal - mid;
	if (labs(_l) < JS_ADC_HYST)
		_l = 0;
//	_i = (int) constrain(map(_l, in_min, in_max, out_min, out_max), out_min, out_max);

	if (_l < 0)
		_i = (int) constrain(map(_l, in_min, 0, out_min, 0), out_min, 0);
	else
		_i = (int) constrain(map(_l, 0, in_max, 0, out_max), 0, out_max);

	u32 = abs(_i);
	if (u32 > 100) {
		/* if below 30 degrees */
		if (u32 < 300)
			_i /= 5;
		_f = (float) _i / 10.0f;
		ret = (int32_t) (((1.0 - cos(_f * M_PI / 180.0)) * maxValue));
		if (ret >= (maxValue * 90 / 100))
			ret = maxValue;
	}

	if (_f < 0)
		ret = 0 - ret;

	return ret;
}

static void adc_joystick_conversion(TJoystick *js, const uint32_t adc_x, const uint32_t adc_y)
{
//	js->az = adc_joystick_azel_conversion(js->raw_min, js->raw_mid, js->raw_max, adc_x, js->az_max);
//	js->el = adc_joystick_azel_conversion(js->raw_min, js->raw_mid, js->raw_max, adc_y, js->el_max);
	js->az_tem = adc_joystick_azel_conversion(js->raw_min, js->raw_mid, js->raw_max, adc_x, js->az_max);
	js->el_tem = adc_joystick_azel_conversion(js->raw_min, js->raw_mid, js->raw_max, adc_y, js->el_max);
	js->az = js->az_tem * js->alpha + js->az * js->betha;
	js->el = js->el_tem * js->alpha + js->el * js->betha;
}

static void js_update()
{
	const int32_t JLEFT_LOW_VAL = 400;
	const int32_t JLEFT_HIGH_VAL = 600;
	int32_t _i32;

	js_button_update();

	LOGBTN("adcVal=%ld,%ld,%ld,%ld\r\n", adcVal[0], adcVal[1], adcVal[2], adcVal[3]);

	adc_joystick_conversion(&JRight, adcVal[0], adcVal[1]);
	adc_joystick_conversion(&JLeft, adcVal[2], adcVal[3]);
	/* TODO JOYSTICK LEFT is broken */

	LOGBTN("JSR=%02X,%ld,%ld JSL=%02X,%ld,%ld\r\n", *(uint8_t* ) &JRight.button, JRight.az, JRight.el,
			*(uint8_t* ) &JLeft.button, JLeft.az, JLeft.el);

	/* ZOOM command */
	_i32 = abs(JLeft.el);
	if (p4.zoom == ZF_STOP) {
		if (_i32 >= JLEFT_HIGH_VAL) {
			if (JLeft.el > 0)
				p4.zoom = ZF_IN;
			else
				p4.zoom = ZF_OUT;
		}
	}
	else {
		if (_i32 <= JLEFT_LOW_VAL)
			p4.zoom = ZF_STOP;
	}

	/* TRACK GATE resize command */
//	_i32 = abs(JLeft.az);
//	if (comp.send.state.trackerGateResize == PC_TRK_GATE_STOP) {
//		if (_i32 >= jLeftHighVal) {
//			if (JLeft.az > 0)
//				comp.send.state.trackerGateResize = PC_TRK_GATE_BIGGER;
//			else
//				comp.send.state.trackerGateResize = PC_TRK_GATE_SMALLER;
//		}
//	}
//	else {
//		if (_i32 <= jLeftLowVal)
//			comp.send.state.trackerGateResize = PC_TRK_GATE_STOP;
//	}
}

static HAL_StatusTypeDef can_init()
{
	HAL_StatusTypeDef ret = HAL_ERROR;

	CAN_RX_Filter_Motor(bus.hcan, 0);
	CAN_RX_Filter_Optronik(bus.hcan, 1);

	CAN_Config(bus.hcan);
	CAN_Tx_Config(&bus.txHeader);

	return ret;
}

static HAL_StatusTypeDef bus_init()
{
	bus.hcan = &hcan1;

	/* can tx buffer init */
	bus.tx_command.id = RWS_PANEL_CMD_ID;
	bus.tx_command.datalength = 6;
	bus.tx_manual.id = RWS_PANEL_MAN_ID;
	bus.tx_track.id = RWS_PANEL_TRK_ID;
	bus.tx_balistik.id = RWS_PANEL_BAL_ID;
	bus.tx_homing.id = RWS_PANEL_HOM_ID;
	bus.tx_manual.datalength = bus.tx_balistik.datalength = bus.tx_homing.datalength = 8;
	bus.tx_track.datalength = 5;

	/* can rx buffer init */
	bus.rx_motor_state.id = RWS_MOTOR_STATUS_ID;
	bus.rx_motor_position.id = RWS_MOTOR_POS_ID;
	bus.rx_motor_imu.id = RWS_MOTOR_IMU_ID;
	bus.rx_opt_lrf.id = RWS_OPTRONIK_LRF_ID;
	bus.rx_opt_cam.id = RWS_OPTRONIK_CAM_ID;

	return can_init();
}

static HAL_StatusTypeDef bus_send(Bus_Tx_Buffer_t *buffer)
{
	bus.txHeader.StdId = buffer->id;
	bus.txHeader.DLC = buffer->datalength;

	if (HAL_CAN_GetTxMailboxesFreeLevel(bus.hcan) > 0)
		return HAL_CAN_AddTxMessage(bus.hcan, &bus.txHeader, buffer->data, &bus.txMailBox);
	else
		return HAL_ERROR;
}

/**
 * @brief  Rx Fifo 0 message pending callback
 * @param  hcan: pointer to a CAN_HandleTypeDef structure that contains
 *         the configuration information for the specified CAN.
 * @retval None
 */
void HAL_CAN_RxFifo0MsgPendingCallback(CAN_HandleTypeDef *hcan)
{
	CAN_RxHeaderTypeDef RxHeader;
	uint8_t RxData[8];

	/* Get RX message */
	if (HAL_CAN_GetRxMessage(hcan, CAN_RX_FIFO0, &RxHeader, RxData) == HAL_OK) {
		if (RxHeader.IDE == CAN_ID_STD) {
			uint32_t _id = RxHeader.StdId;
//			LOGBUS("%03X\r\n", _id);
			/* FROM MOTOR */
			if (_id == RWS_MOTOR_STATUS_ID) {
				bus.rx_motor_state.lastTimestamp = HAL_GetTick();
				memcpy(bus.rx_motor_state.data, RxData, RxHeader.DLC);
				bus.rx_motor_state.idType = CAN_ID_STD;
				bus.rx_motor_state.len = RxHeader.DLC;
				bus.rx_motor_state.counter++;
			}
			else if (_id == RWS_MOTOR_POS_ID) {
				bus.rx_motor_position.lastTimestamp = HAL_GetTick();
				memcpy(bus.rx_motor_position.data, RxData, RxHeader.DLC);
				bus.rx_motor_position.idType = CAN_ID_STD;
				bus.rx_motor_position.len = RxHeader.DLC;
				bus.rx_motor_position.counter++;
			}
			else if (_id == RWS_MOTOR_IMU_ID) {
				bus.rx_motor_imu.lastTimestamp = HAL_GetTick();
				memcpy(bus.rx_motor_imu.data, RxData, RxHeader.DLC);
				bus.rx_motor_imu.idType = CAN_ID_STD;
				bus.rx_motor_imu.len = RxHeader.DLC;
				bus.rx_motor_imu.counter++;
			}
			/* FROM OPTRONIK */
			else if (_id == RWS_OPTRONIK_LRF_ID) {
				bus.rx_opt_lrf.lastTimestamp = HAL_GetTick();
				memcpy(bus.rx_opt_lrf.data, RxData, RxHeader.DLC);
				bus.rx_opt_lrf.idType = CAN_ID_STD;
				bus.rx_opt_lrf.len = RxHeader.DLC;
				bus.rx_opt_lrf.counter++;
			}
			else if (_id == RWS_OPTRONIK_CAM_ID) {
				bus.rx_opt_cam.lastTimestamp = HAL_GetTick();
				memcpy(bus.rx_opt_cam.data, RxData, RxHeader.DLC);
				bus.rx_opt_cam.idType = CAN_ID_STD;
				bus.rx_opt_cam.len = RxHeader.DLC;
				bus.rx_opt_cam.counter++;
			}
		}
	}

}

/**
 * @brief  Error CAN callback.
 * @param  hcan pointer to a CAN_HandleTypeDef structure that contains
 *         the configuration information for the specified CAN.
 * @retval None
 */
void HAL_CAN_ErrorCallback(CAN_HandleTypeDef *hcan)
{
	/* Bus-off error */
	if ((hcan->ErrorCode & HAL_CAN_ERROR_BOF) != 0) {
		//	g_fdcan_bus_busOff_error = 1;
#if DEBUG_BUS==1
		printf("\t\t\tbus error!\r\n");
#endif	//if DEBUG_BUS==1
	}
}

void HAL_ADC_ConvCpltCallback(ADC_HandleTypeDef *hadc)
{
	/* Prevent unused argument(s) compilation warning */
	UNUSED(hadc);
	adcConvCompleted = 1;
}

//void HAL_GPIO_EXTI_Callback(uint16_t GPIO_Pin)
//{
//	if (GPIO_Pin == DUAL_TRIG_IN_Pin) {
//		if (p1.triggerEnable == 1 && (JRight.button.deadman | JLeft.button.deadman)) {
//			HAL_GPIO_WritePin(TRIG_PULSE_OUT_GPIO_Port, TRIG_PULSE_OUT_Pin, GPIO_PIN_SET);
//			trig_timer = HAL_GetTick() + 500;
//		}
//	}
//}

/* TODO END User Function */
/* USER CODE END 4 */

/* MPU Configuration */

void MPU_Config(void)
{
	MPU_Region_InitTypeDef MPU_InitStruct = { 0 };

	/* Disables the MPU */
	HAL_MPU_Disable();

	/** Initializes and configures the Region and the memory to be protected
	 */
	MPU_InitStruct.Enable = MPU_REGION_ENABLE;
	MPU_InitStruct.Number = MPU_REGION_NUMBER0;
	MPU_InitStruct.BaseAddress = 0x0;
	MPU_InitStruct.Size = MPU_REGION_SIZE_4GB;
	MPU_InitStruct.SubRegionDisable = 0x87;
	MPU_InitStruct.TypeExtField = MPU_TEX_LEVEL0;
	MPU_InitStruct.AccessPermission = MPU_REGION_NO_ACCESS;
	MPU_InitStruct.DisableExec = MPU_INSTRUCTION_ACCESS_DISABLE;
	MPU_InitStruct.IsShareable = MPU_ACCESS_SHAREABLE;
	MPU_InitStruct.IsCacheable = MPU_ACCESS_NOT_CACHEABLE;
	MPU_InitStruct.IsBufferable = MPU_ACCESS_NOT_BUFFERABLE;

	HAL_MPU_ConfigRegion(&MPU_InitStruct);
	/* Enables the MPU */
	HAL_MPU_Enable(MPU_PRIVILEGED_DEFAULT);

}

void Error_Handler(void)
{
	__disable_irq();
	while (1) {
	}
}
